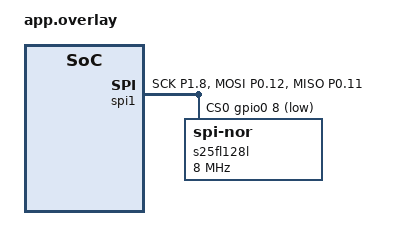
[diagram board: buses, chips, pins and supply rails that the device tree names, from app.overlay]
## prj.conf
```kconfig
CONFIG_GPIO=y

# Enable mcumgr DFU in application
CONFIG_MCUMGR=y

# Enable MCUMGR management for both OS and Images
CONFIG_MCUMGR_GRP_OS=y
CONFIG_MCUMGR_GRP_IMG=y

# Configure MCUMGR transport to UART
CONFIG_MCUMGR_TRANSPORT_UART=y

# Dependencies
# Configure dependencies for CONFIG_MCUMGR  
CONFIG_NET_BUF=y
CONFIG_ZCBOR=y
CONFIG_CRC=y

# ---> Puesto en la noche 15/07/2025 CRÍTICO: Especificar que slot1 está en flash externa <-----
CONFIG_PM_EXTERNAL_FLASH_MCUBOOT_SECONDARY=y

# Configure dependencies for CONFIG_MCUMGR_GRP_IMG  
CONFIG_FLASH=y
CONFIG_IMG_MANAGER=y

# Configure dependencies for CONFIG_IMG_MANAGER  
CONFIG_STREAM_FLASH=y
CONFIG_FLASH_MAP=y

# Configure dependencies for CONFIG_MCUMGR_TRANSPORT_UART 
CONFIG_BASE64=y

# Step 1.1 - Enable SPI driver for Application
# Step 1.1 - Enable SPI driver for the application
CONFIG_GPIO=y
CONFIG_SPI=y
CONFIG_SPI_NOR=y
CONFIG_SPI_NOR_SFDP_DEVICETREE=n
CONFIG_SPI_NOR_SFDP_RUNTIME=y
CONFIG_SPI_NOR_FLASH_LAYOUT_PAGE_SIZE=256
# QSPI drivers are enabled by defualt for some chips.
# Disable it explicitly to be sure QSPI is disabled.
CONFIG_NORDIC_QSPI_NOR=n 

# Development settings - Disable protection for easy programming
# WARNING: Remove these lines for production builds
CONFIG_NRF_APPROTECT_LOCK=n
CONFIG_NRF_APPROTECT_USER_HANDLING=n
```

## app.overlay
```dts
/* STEP 2.1 - Add external flash to application */

/* Custom pinctrl for your specific pins */
&pinctrl {
/* uart0_default: uart0_default {
        group1 {
            psels = <NRF_PSEL(UART_TX, 0, 10)>,    // ✅ Tu TX real
                   <NRF_PSEL(UART_RTS, 0, 5)>;
        };
        group2 {
            psels = <NRF_PSEL(UART_RX, 0, 21)>,    // ✅ Tu RX real  
                   <NRF_PSEL(UART_CTS, 0, 7)>;
            bias-pull-up;
        };
    };
    
    uart0_sleep: uart0_sleep {
        group1 {
            psels = <NRF_PSEL(UART_TX, 0, 10)>,
                   <NRF_PSEL(UART_RX, 0, 21)>,
                   <NRF_PSEL(UART_RTS, 0, 5)>,
                   <NRF_PSEL(UART_CTS, 0, 7)>;
            low-power-enable;
        };
    }; */

    spi1_custom: spi1_custom {
        group1 {
            psels = <NRF_PSEL(SPIM_SCK, 1, 8)>,     // P1.08 (tu pin SCK)
                   <NRF_PSEL(SPIM_MOSI, 0, 12)>,    // P0.12 (tu pin MOSI)
                   <NRF_PSEL(SPIM_MISO, 0, 11)>;    // P0.11 (tu pin MISO)
        };
    };
    
    spi1_custom_sleep: spi1_custom_sleep {
        group1 {
            psels = <NRF_PSEL(SPIM_SCK, 1, 8)>,
                   <NRF_PSEL(SPIM_MOSI, 0, 12)>,
                   <NRF_PSEL(SPIM_MISO, 0, 11)>;
            low-power-enable;
        };
    };
};

/* First define the S25FL128L flash device */
&spi1 {
    compatible = "nordic,nrf-spim";
    status = "okay";
    pinctrl-0 = <&spi1_custom>;
    pinctrl-1 = <&spi1_custom_sleep>;
    pinctrl-names = "default", "sleep";
    cs-gpios = <&gpio0 8 GPIO_ACTIVE_LOW>;  // P0.08 para CS
    
    s25fl128l: s25fl128l@0 {
        compatible = "jedec,spi-nor";   // Driver genérico SPI NOR
        reg = <0>;                      // Chip Select 0 (CS0)
        spi-max-frequency = <8000000>;  // 8MHz máximo
        jedec-id = [01 60 18];  //Manufacturer ID for Infineon 01h Memory Interface Type 60h  Device ID LSB - Density and Features 18h (128Mb)
        size = <134217728>; /* 128 Mbit = 16 MB */
        status = "okay";
    };
};

/* Enable the flash for application use */
&s25fl128l {
    status = "okay";
};

/* Tell Nordic Partition Manager about external flash */
/ {
    chosen {
        nordic,pm-ext-flash = &s25fl128l;
    };
};

&reg1 {
    regulator-initial-mode = <NRF5X_REG_MODE_LDO>;
};
```

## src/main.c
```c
/*
 * Copyright (c) 2016 Intel Corporation
 *
 * SPDX-License-Identifier: Apache-2.0
 */

#include <zephyr/kernel.h>
#include <zephyr/drivers/gpio.h>

#include <zephyr/drivers/flash.h>
#include <zephyr/storage/flash_map.h>
#include <zephyr/logging/log.h>

/* 1000 msec = 1 sec */

#define SLEEP_TIME_MS   1000

/* The devicetree node identifier for the "led0" alias. */
#define LED0_NODE DT_ALIAS(led0)

/* Define RGB LEDs using direct GPIO specification */
#define RGB_R_PIN     31
#define RGB_G_PIN     30
#define RGB_B_PIN     29
#define GPIO0_NODE    DT_NODELABEL(gpio0)

/*
 * A build error on this line means your board is unsupported.
 * See the sample documentation for information on how to fix this.
 */
static const struct gpio_dt_spec led = GPIO_DT_SPEC_GET(LED0_NODE, gpios);
static const struct gpio_dt_spec rgb_r = {
    .port = DEVICE_DT_GET(GPIO0_NODE),
    .pin = RGB_R_PIN,
    .dt_flags = GPIO_ACTIVE_LOW
};

static const struct gpio_dt_spec rgb_g = {
    .port = DEVICE_DT_GET(GPIO0_NODE),
    .pin = RGB_G_PIN,
    .dt_flags = GPIO_ACTIVE_LOW
};

static const struct gpio_dt_spec rgb_b = {
    .port = DEVICE_DT_GET(GPIO0_NODE),
    .pin = RGB_B_PIN,
    .dt_flags = GPIO_ACTIVE_LOW
};

int main(void)
{
	/* Initialize the LED GPIO pin */

	int ret;

	/*if (!device_is_ready(led.port)) {
		return -1;
	} */

	/* ret = gpio_pin_configure_dt(&led, GPIO_OUTPUT_ACTIVE);
	if (ret < 0) {
		return -1;
	} */

	/* Configure RGB LEDs */
	if (!device_is_ready(rgb_r.port)) {
		printk("LED ROJO no disponible\n");
		return -1;
	}

	ret = gpio_pin_configure_dt(&rgb_r, GPIO_OUTPUT_INACTIVE);
	if (ret < 0) {
		printk("LED ROJO no disponible\n");
		return -1;
	}

	ret = gpio_pin_configure_dt(&rgb_g, GPIO_OUTPUT_INACTIVE);
	if (ret < 0) {
		printk("LED VERDE no disponible\n");
		return -1;
	}

	ret = gpio_pin_configure_dt(&rgb_b, GPIO_OUTPUT_INACTIVE);
	if (ret < 0) {
		printk("LED AZUL no disponible\n");
		return -1;
	}

	printk("DFU External Test - Firmware cargado correctamente! v1.0\n");
	printk("Iniciando test simple de LEDs RGB...\n");

	// Secuencia de inicio - 3 parpadeos para confirmar boot
	for (int i = 0; i < 3; i++) {
		gpio_pin_set_dt(&rgb_r, 1);
		k_msleep(100);
		gpio_pin_set_dt(&rgb_r, 0);
		k_msleep(100);
	}

	int counter = 0;
	while (1) {

		if(counter == 1)
		{
			gpio_pin_set_dt(&rgb_r, 1); // Rojo ON
			gpio_pin_set_dt(&rgb_g, 0); // Verde OFF
			gpio_pin_set_dt(&rgb_b, 0); // Azul OFF
			printk("LED: ROJO\n");
		}
		else if(counter == 2)
		{
			gpio_pin_set_dt(&rgb_r, 0);
			gpio_pin_set_dt(&rgb_g, 1); // Verde ON
			gpio_pin_set_dt(&rgb_b, 0);
			printk("LED: VERDE\n");
		}
		else if(counter == 3)
		{
			gpio_pin_set_dt(&rgb_r, 0);
			gpio_pin_set_dt(&rgb_g, 0);
			gpio_pin_set_dt(&rgb_b, 1); // Azul ON
			printk("LED: AZUL\n");
			counter = 0; // Reiniciar contador
		}
		
		counter++;
		k_msleep(2000); // 2 segundos entre cambios
	}
}
```
